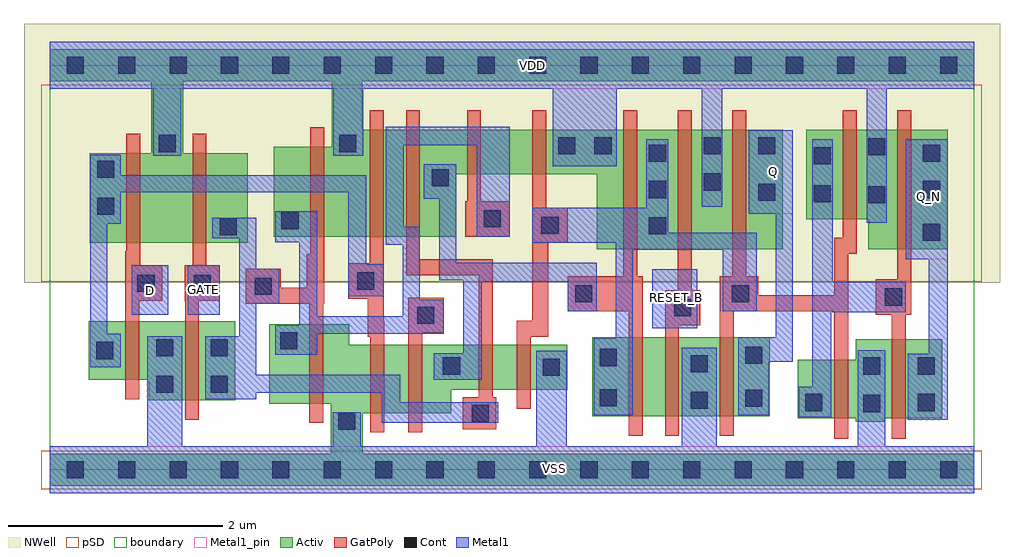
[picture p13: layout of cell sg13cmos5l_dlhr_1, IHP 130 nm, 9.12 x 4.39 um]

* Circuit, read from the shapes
.subckt sg13cmos5l_dlhr_1 D GATE Q Q_N RESET_B VDD VSS
XM1 VSS D n1 VSS sg13_lv_nmos w=0.55u l=0.13u
XM2 n2 GATE VSS VSS sg13_lv_nmos w=0.74u l=0.13u
XM3 VSS n2 n3 VSS sg13_lv_nmos w=0.74u l=0.13u
XM4 n4 n1 VSS VSS sg13_lv_nmos w=0.64u l=0.13u
XM5 n5 n3 n4 VSS sg13_lv_nmos w=0.64u l=0.13u
XM6 n6 n2 n5 VSS sg13_lv_nmos w=0.42u l=0.13u
XM7 VSS n7 n6 VSS sg13_lv_nmos w=0.42u l=0.13u
XM8 n8 n5 n7 VSS sg13_lv_nmos w=0.74u l=0.13u
XM9 VSS RESET_B n8 VSS sg13_lv_nmos w=0.74u l=0.13u
XM10 Q n7 VSS VSS sg13_lv_nmos w=0.74u l=0.13u
XM11 VSS n7 n9 VSS sg13_lv_nmos w=0.55u l=0.13u
XM12 Q_N n9 VSS VSS sg13_lv_nmos w=0.74u l=0.13u
XM13 VDD D n1 VDD sg13_lv_pmos w=0.84u l=0.13u
XM14 n2 GATE VDD VDD sg13_lv_pmos w=0.84u l=0.13u
XM15 VDD n2 n3 VDD sg13_lv_pmos w=0.84u l=0.13u
XM16 n10 n1 VDD VDD sg13_lv_pmos w=1u l=0.13u
XM17 n5 n2 n10 VDD sg13_lv_pmos w=1u l=0.13u
XM18 n11 n3 n5 VDD sg13_lv_pmos w=0.42u l=0.13u
XM19 VDD n7 n11 VDD sg13_lv_pmos w=0.42u l=0.13u
XM20 n7 n5 VDD VDD sg13_lv_pmos w=1.12u l=0.13u
XM21 VDD RESET_B n7 VDD sg13_lv_pmos w=1.12u l=0.13u
XM22 Q n7 VDD VDD sg13_lv_pmos w=1.12u l=0.13u
XM23 VDD n7 n9 VDD sg13_lv_pmos w=0.84u l=0.13u
XM24 Q_N n9 VDD VDD sg13_lv_pmos w=1.12u l=0.13u
.ends

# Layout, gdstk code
import gdstk
lib = gdstk.Library(unit=1e-6, precision=1e-09)
def R(c, l, rs):  # rectangles x0, y0, x1, y1
    for r in rs: c.add(gdstk.rectangle(r[:2], r[2:], *l))
def A(c, l, x, y, w, h, nx, ny, dx, dy):  # array of equal rectangles
    R(c, l, [(x+i*dx, y+j*dy, x+i*dx+w, y+j*dy+h) for i in range(nx) for j in range(ny)])
def P(c, l, *ps):  # polygons
    for p in ps: c.add(gdstk.Polygon(p, *l))
Activ = (1, 0)
GatPoly = (5, 0)
Cont = (6, 0)
Metal1 = (8, 0)
Metal1_pin = (8, 2)
pSD = (14, 0)
NWell = (31, 0)
boundary = (189, 4)

sg13cmos5l_dlhr_1 = lib.new_cell('sg13cmos5l_dlhr_1')
R(sg13cmos5l_dlhr_1, Activ, [(5.07,0.5,6.73,1.24)])
P(sg13cmos5l_dlhr_1, Activ, [(0,-0.15),(0,0.15),(2.625,0.15),(2.625,0.62),(2.05,0.62),(2.05,1.36),(2.8,1.36),(2.8,1.17),(4.835,1.17),(4.835,0.75),(3.75,0.75),(3.75,0.53),(2.925,0.53),(2.925,0.15),(8.64,0.15),(8.64,-0.15)],
  [(5.11,2.06),(5.11,2.76),(3.8,2.76),(3.8,2.18),(2.095,2.18),(2.095,3.02),(2.635,3.02),(2.635,3.63),(1.25,3.63),(1.25,2.96),(1.85,2.96),(1.85,2.12),(0.375,2.12),(0.375,2.96),(0.95,2.96),(0.95,3.63),(0,3.63),(0,3.93),(8.64,3.93),(8.64,3.63),(2.92,3.63),(2.92,3.18),(6.85,3.18),(6.85,2.06)],
  [(7.65,2.06),(7.65,2.34),(7.07,2.34),(7.07,3.18),(8.39,3.18),(8.39,2.06)],
  [(7.53,0.45),(7.53,0.48),(6.99,0.48),(6.99,1.03),(7.53,1.03),(7.53,1.22),(8.34,1.22),(8.34,0.48),(7.8,0.48),(7.8,0.45)],
  [(0.925,0.65),(0.925,0.84),(0.365,0.84),(0.365,1.39),(1.735,1.39),(1.735,0.65)])
P(sg13cmos5l_dlhr_1, GatPoly, [(7.87,0.29),(7.87,1.45),(7.72,1.45),(7.72,1.78),(7.92,1.78),(7.92,3.36),(8.05,3.36),(8.05,1.45),(8,1.45),(8,0.29)],
  [(7.33,0.29),(7.33,1.48),(6.39,1.48),(6.39,0.32),(6.26,0.32),(6.26,1.81),(6.38,1.81),(6.38,3.36),(6.51,3.36),(6.51,1.81),(6.62,1.81),(6.62,1.63),(7.33,1.63),(7.33,2.17),(7.41,2.17),(7.41,3.36),(7.54,3.36),(7.54,2.02),(7.46,2.02),(7.46,0.29)],
  [(5.75,0.32),(5.75,1.68),(5.87,1.68),(5.87,3.36),(6,3.36),(6,1.68),(6.08,1.68),(6.08,1.35),(5.88,1.35),(5.88,0.32)],
  [(5.41,0.32),(5.41,1.48),(4.84,1.48),(4.84,1.81),(5.36,1.81),(5.36,3.36),(5.49,3.36),(5.49,1.81),(5.54,1.81),(5.54,0.32)],
  [(4.365,0.57),(4.365,1.395),(4.51,1.395),(4.51,3.36),(4.64,3.36),(4.64,2.45),(4.84,2.45),(4.84,2.12),(4.66,2.12),(4.66,1.245),(4.495,1.245),(4.495,0.57)],
  [(3.885,2.18),(3.885,2.51),(3.9,2.51),(3.9,3.36),(4.03,3.36),(4.03,2.51),(4.3,2.51),(4.3,2.18)],
  [(3.86,0.38),(3.86,0.68),(4.01,0.68),(4.01,1.82),(3.33,1.82),(3.33,3.36),(3.46,3.36),(3.46,1.97),(4.14,1.97),(4.14,0.68),(4.175,0.68),(4.175,0.38)],
  [(3.35,0.35),(3.35,1.61),(3.68,1.61),(3.68,1.28),(3.48,1.28),(3.48,0.35)],
  [(2.995,0.35),(2.995,1.245),(2.97,1.245),(2.97,1.6),(2.79,1.6),(2.79,1.93),(2.99,1.93),(2.99,3.36),(3.12,3.36),(3.12,1.395),(3.125,1.395),(3.125,0.35)],
  [(2.425,0.44),(2.425,1.55),(1.83,1.55),(1.83,1.88),(2.16,1.88),(2.16,1.7),(2.4,1.7),(2.4,2.015),(2.435,2.015),(2.435,3.2),(2.565,3.2),(2.565,1.55),(2.555,1.55),(2.555,0.44)],
  [(1.265,0.47),(1.265,1.58),(1.26,1.58),(1.26,1.91),(1.335,1.91),(1.335,3.14),(1.465,3.14),(1.465,1.91),(1.59,1.91),(1.59,1.58),(1.395,1.58),(1.395,0.47)],
  [(0.705,0.66),(0.705,2.045),(0.715,2.045),(0.715,3.14),(0.845,3.14),(0.845,1.91),(1.05,1.91),(1.05,1.58),(0.835,1.58),(0.835,0.66)])
A(sg13cmos5l_dlhr_1, Cont, 0.16, -0.08, 0.16, 0.16, 18, 2, 0.48, 3.78)
A(sg13cmos5l_dlhr_1, Cont, 5.6, 2.2, 0.16, 0.16, 1, 3, 0, 0.34)
R(sg13cmos5l_dlhr_1, Cont, [(2.695,0.375,2.855,0.535), (3.945,0.45,4.105,0.61), (7.6,0.54,7.76,0.7), (7.06,0.55,7.22,0.71), (8.11,0.55,8.27,0.71), (5.99,0.57,6.15,0.73), (6.5,0.59,6.66,0.75), (5.14,0.595,5.3,0.755), (0.995,0.72,1.155,0.88), (1.505,0.72,1.665,0.88), (4.605,0.88,4.765,1.04), (3.675,0.89,3.835,1.05), (7.6,0.89,7.76,1.05), (8.11,0.89,8.27,1.05), (5.99,0.91,6.15,1.07), (5.14,0.97,5.3,1.13), (6.5,0.99,6.66,1.15), (0.435,1.035,0.595,1.195), (0.995,1.06,1.155,1.22), (1.505,1.06,1.665,1.22), (2.155,1.125,2.315,1.285), (3.435,1.365,3.595,1.525), (5.835,1.435,5.995,1.595), (7.805,1.535,7.965,1.695), (4.91,1.565,5.07,1.725), (6.375,1.565,6.535,1.725), (1.915,1.635,2.075,1.795), (0.82,1.665,0.98,1.825), (1.345,1.665,1.505,1.825), (2.875,1.685,3.035,1.845), (8.16,2.14,8.32,2.3), (1.59,2.19,1.75,2.35), (4.595,2.205,4.755,2.365), (2.165,2.25,2.325,2.41), (4.055,2.265,4.215,2.425), (0.445,2.385,0.605,2.545), (7.65,2.49,7.81,2.65), (7.14,2.5,7.3,2.66), (6.62,2.515,6.78,2.675), (8.16,2.54,8.32,2.7), (6.11,2.61,6.27,2.77), (3.57,2.65,3.73,2.81), (0.445,2.73,0.605,2.89), (7.14,2.855,7.3,3.015), (8.16,2.88,8.32,3.04), (7.65,2.94,7.81,3.1), (4.75,2.95,4.91,3.11), (5.09,2.95,5.25,3.11), (6.11,2.95,6.27,3.11), (6.62,2.95,6.78,3.11), (1.02,2.97,1.18,3.13), (2.705,2.97,2.865,3.13)])
R(sg13cmos5l_dlhr_1, Metal1, [(5.63,1.325,6.05,1.875), (0.765,1.45,1.11,1.91), (1.29,1.45,1.59,1.91)])
P(sg13cmos5l_dlhr_1, Metal1, [(0,-0.22),(0,0.22),(0.91,0.22),(0.91,1.25),(1.24,1.25),(1.24,0.22),(2.645,0.22),(2.645,0.54),(2.905,0.54),(2.905,0.22),(4.545,0.22),(4.545,1.115),(4.83,1.115),(4.83,0.22),(5.905,0.22),(5.905,1.14),(6.235,1.14),(6.235,0.22),(7.55,0.22),(7.55,1.12),(7.81,1.12),(7.81,0.22),(8.64,0.22),(8.64,-0.22)],
  [(7.635,2.31),(7.635,3.56),(6.285,3.56),(6.285,2.46),(6.095,2.46),(6.095,3.56),(5.3,3.56),(5.3,2.835),(4.7,2.835),(4.7,3.56),(2.93,3.56),(2.93,2.935),(2.65,2.935),(2.65,3.56),(1.23,3.56),(1.23,2.935),(0.97,2.935),(0.97,3.56),(0,3.56),(0,4),(8.64,4),(8.64,3.56),(7.82,3.56),(7.82,2.31)],
  [(8.02,0.47),(8.02,1.085),(8.215,1.085),(8.215,1.97),(8,1.97),(8,3.09),(8.39,3.09),(8.39,0.47)],
  [(7,0.49),(7,0.775),(7.125,0.775),(7.125,3.09),(7.315,3.09),(7.315,1.76),(8,1.76),(8,1.475),(7.305,1.475),(7.305,0.49)],
  [(6.435,0.51),(6.435,1.24),(6.785,1.24),(6.785,2.395),(6.53,2.395),(6.53,3.175),(6.945,3.175),(6.945,1.01),(6.72,1.01),(6.72,0.51)],
  [(5.085,0.51),(5.085,1.23),(5.29,1.23),(5.29,2.12),(4.51,2.12),(4.51,2.45),(5.575,2.45),(5.575,3.09),(5.78,3.09),(5.78,2.215),(6.605,2.215),(6.605,1.48),(6.29,1.48),(6.29,2.055),(5.45,2.055),(5.45,0.51)],
  [(3.59,0.84),(3.59,1.09),(3.865,1.09),(3.865,1.77),(3.64,1.77),(3.64,2.535),(3.495,2.535),(3.495,2.855),(3.8,2.855),(3.8,1.935),(5.11,1.935),(5.11,1.48),(4.84,1.48),(4.84,1.76),(4.035,1.76),(4.035,0.84)],
  [(2.11,1.075),(2.11,1.35),(2.33,1.35),(2.33,2.125),(2.11,2.125),(2.11,2.415),(2.5,2.415),(2.5,1.435),(3.3,1.435),(3.3,2.105),(3.14,2.105),(3.14,3.205),(4.3,3.205),(4.3,2.18),(3.99,2.18),(3.99,3.035),(3.31,3.035),(3.31,2.27),(3.46,2.27),(3.46,1.59),(3.68,1.59),(3.68,1.27),(2.5,1.27),(2.5,1.075)],
  [(3.105,0.44),(3.105,0.72),(1.93,0.72),(1.93,0.66),(1.455,0.66),(1.455,1.25),(1.77,1.25),(1.77,2.165),(1.52,2.165),(1.52,2.355),(1.93,2.355),(1.93,1.88),(2.145,1.88),(2.145,1.55),(1.93,1.55),(1.93,0.89),(3.275,0.89),(3.275,0.63),(4.19,0.63),(4.19,0.44)],
  [(0.38,0.96),(0.38,2.945),(0.665,2.945),(0.665,2.755),(2.96,2.755),(2.96,1.92),(3.12,1.92),(3.12,1.62),(2.79,1.62),(2.79,2.595),(0.665,2.595),(0.665,2.3),(0.54,2.3),(0.54,1.27),(0.665,1.27),(0.665,0.96)])
R(sg13cmos5l_dlhr_1, Metal1_pin, [(0,-0.22,8.64,0.22), (5.63,1.325,6.05,1.875), (0.765,1.45,1.11,1.91), (1.29,1.45,1.59,1.91), (8,1.97,8.39,3.09), (6.53,2.395,6.945,3.175), (0,3.56,8.64,4)])
R(sg13cmos5l_dlhr_1, pSD, [(-0.08,-0.18,8.71,0.18), (-0.08,1.76,8.71,3.6)])
R(sg13cmos5l_dlhr_1, NWell, [(-0.24,1.75,8.88,4.17)])
R(sg13cmos5l_dlhr_1, boundary, [(0,0,8.64,3.78)])
sg13cmos5l_dlhr_1.add(gdstk.Label('Q_N', (8.215,2.55), layer=8, texttype=25))
sg13cmos5l_dlhr_1.add(gdstk.Label('RESET_B', (5.855,1.61), layer=8, texttype=25))
sg13cmos5l_dlhr_1.add(gdstk.Label('GATE', (1.44,1.69), layer=8, texttype=25))
sg13cmos5l_dlhr_1.add(gdstk.Label('VDD', (4.51,3.775), layer=8, texttype=25))
sg13cmos5l_dlhr_1.add(gdstk.Label('Q', (6.76,2.79), layer=8, texttype=25))
sg13cmos5l_dlhr_1.add(gdstk.Label('VSS', (4.715,0.01), layer=8, texttype=25))
sg13cmos5l_dlhr_1.add(gdstk.Label('D', (0.94,1.675), layer=8, texttype=25))

lib.write_gds('sg13cmos5l_dlhr_1.gds')
